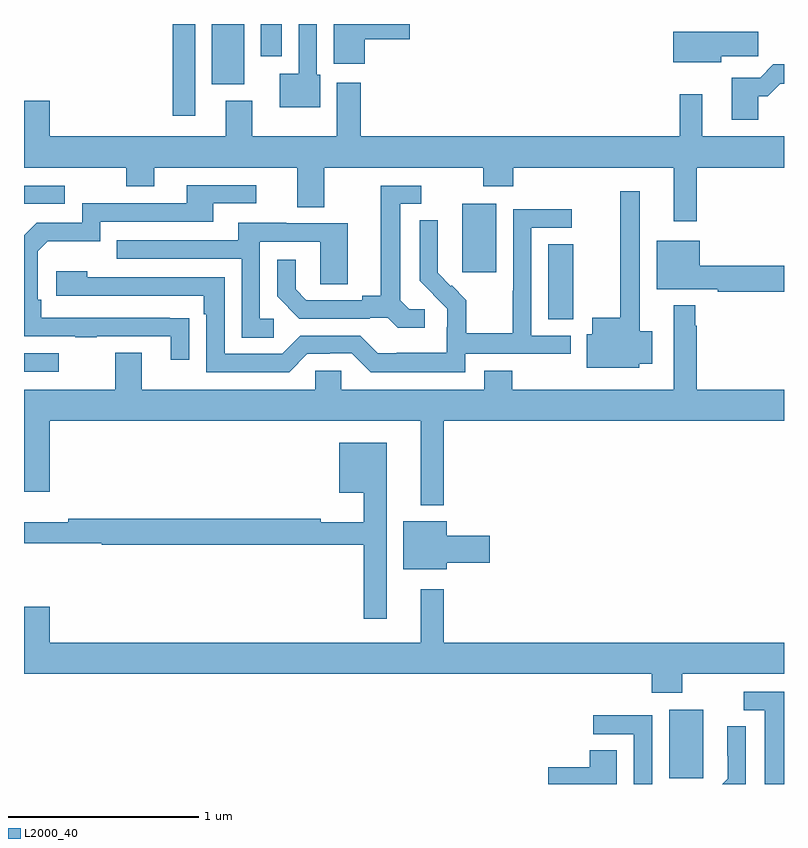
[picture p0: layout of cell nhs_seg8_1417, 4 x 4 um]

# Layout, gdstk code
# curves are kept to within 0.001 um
import gdstk
lib = gdstk.Library(unit=1e-6, precision=1e-09)
def R(c, l, rs):  # rectangles x0, y0, x1, y1
    for r in rs: c.add(gdstk.rectangle(r[:2], r[2:], *l))
def P(c, l, *ps):  # polygons
    for p in ps: c.add(gdstk.Polygon(p, *l))
L2000_40 = (2000, 40)

nhs_seg8_1417 = lib.new_cell('nhs_seg8_1417')
R(nhs_seg8_1417, L2000_40, [(204.395,1135.929,204.574,1136.29), (201,1138.071,201.184,1138.167), (203.759,1138.345,203.89,1138.742), (203.306,1138.593,203.485,1138.954), (201,1138.953,201.214,1139.049), (201.784,1139.418,201.9,1139.9), (201.989,1139.582,202.159,1139.9), (202.247,1139.73,202.357,1139.9)])
P(nhs_seg8_1417, L2000_40, [(202.558,1139.634),(202.542,1139.634),(202.542,1139.9),(202.446,1139.9),(202.446,1139.638),(202.346,1139.638),(202.346,1139.462),(202.558,1139.462)],
  [(202.793,1139.819),(203.029,1139.819),(203.029,1139.9),(202.631,1139.9),(202.631,1139.691),(202.793,1139.691)],
  [(204.67,1139.731),(204.865,1139.731),(204.865,1139.86),(204.416,1139.86),(204.416,1139.699),(204.67,1139.699)],
  [(204.865,1139.519),(204.914,1139.519),(204.981,1139.586),(205,1139.586),(205,1139.687),(204.944,1139.687),(204.874,1139.617),(204.725,1139.617),(204.725,1139.397),(204.865,1139.397)],
  [(204.541,1139.144),(205,1139.144),(205,1139.308),(204.571,1139.308),(204.571,1139.53),(204.45,1139.53),(204.45,1139.308),(202.772,1139.308),(202.772,1139.59),(202.646,1139.59),(202.646,1139.308),(202.201,1139.308),(202.201,1139.497),(202.061,1139.497),(202.061,1139.308),(201.136,1139.308),(201.136,1139.497),(201,1139.497),(201,1139.144),(201.538,1139.144),(201.538,1139.045),(201.685,1139.045),(201.685,1139.144),(202.439,1139.144),(202.439,1138.936),(202.579,1138.936),(202.579,1139.144),(203.416,1139.144),(203.416,1139.045),(203.576,1139.045),(203.576,1139.144),(204.419,1139.144),(204.419,1138.863),(204.541,1138.863)],
  [(201.869,1138.352),(201.092,1138.353),(201.092,1138.45),(201.072,1138.45),(201.072,1138.704),(201.125,1138.757),(201.402,1138.757),(201.402,1138.86),(201.997,1138.86),(201.997,1138.956),(202.222,1138.956),(202.222,1139.052),(201.857,1139.052),(201.857,1138.956),(201.306,1138.956),(201.306,1138.854),(201.066,1138.854),(201,1138.788),(201,1138.257),(201.271,1138.257),(201.271,1138.252),(201.383,1138.252),(201.383,1138.257),(201.773,1138.257),(201.773,1138.134),(201.869,1138.134)],
  [(203.11,1138.398),(203.028,1138.398),(202.981,1138.445),(202.981,1138.953),(203.092,1138.953),(203.092,1139.049),(202.877,1139.049),(202.877,1138.469),(202.781,1138.469),(202.781,1138.446),(202.486,1138.446),(202.429,1138.503),(202.429,1138.66),(202.332,1138.66),(202.332,1138.466),(202.448,1138.35),(202.82,1138.35),(202.82,1138.353),(202.914,1138.353),(202.966,1138.301),(203.11,1138.301)],
  [(204.237,1138.112),(204.307,1138.112),(204.307,1138.283),(204.241,1138.283),(204.241,1139.02),(204.137,1139.02),(204.137,1138.354),(203.99,1138.354),(203.99,1138.266),(203.963,1138.266),(203.963,1138.091),(204.237,1138.091)],
  [(203.322,1138.164),(203.878,1138.164),(203.878,1138.26),(203.67,1138.26),(203.67,1138.827),(203.884,1138.827),(203.884,1138.926),(203.574,1138.926),(203.574,1138.496),(203.572,1138.496),(203.572,1138.273),(203.327,1138.273),(203.327,1138.447),(203.25,1138.524),(203.247,1138.521),(203.177,1138.592),(203.178,1138.868),(203.082,1138.868),(203.082,1138.55),(203.228,1138.402),(203.228,1138.305),(203.226,1138.305),(203.226,1138.171),(202.963,1138.171),(202.963,1138.167),(202.863,1138.167),(202.77,1138.26),(202.455,1138.26),(202.359,1138.164),(202.056,1138.164),(202.056,1138.566),(201.332,1138.566),(201.332,1138.6),(201.171,1138.6),(201.171,1138.47),(201.947,1138.47),(201.947,1138.373),(201.96,1138.373),(201.96,1138.068),(202.395,1138.068),(202.491,1138.164),(202.61,1138.164),(202.61,1138.167),(202.725,1138.167),(202.825,1138.067),(203.322,1138.067)],
  [(202.315,1138.35),(202.242,1138.35),(202.242,1138.755),(202.56,1138.755),(202.56,1138.531),(202.705,1138.531),(202.705,1138.851),(202.381,1138.851),(202.381,1138.855),(202.127,1138.855),(202.127,1138.761),(201.487,1138.761),(201.487,1138.665),(202.146,1138.665),(202.146,1138.249),(202.315,1138.249)],
  [(205,1138.628),(204.556,1138.628),(204.556,1138.759),(204.329,1138.759),(204.329,1138.505),(204.652,1138.505),(204.652,1138.492),(205,1138.492)],
  [(203.209,1137.812),(205,1137.812),(205,1137.976),(204.541,1137.976),(204.541,1138.313),(204.534,1138.313),(204.534,1138.42),(204.419,1138.42),(204.419,1137.976),(203.571,1137.976),(203.571,1138.075),(203.423,1138.075),(203.423,1137.976),(202.671,1137.976),(202.671,1138.074),(202.533,1138.074),(202.533,1137.976),(201.619,1137.976),(201.619,1138.171),(201.479,1138.171),(201.479,1137.976),(201,1137.976),(201,1137.438),(201.136,1137.438),(201.136,1137.812),(203.087,1137.812),(203.087,1137.368),(203.209,1137.368)],
  [(202.909,1137.697),(202.658,1137.697),(202.658,1137.434),(202.788,1137.434),(202.788,1137.277),(202.562,1137.277),(202.562,1137.296),(201.232,1137.296),(201.232,1137.277),(201,1137.277),(201,1137.168),(201.409,1137.168),(201.409,1137.16),(202.788,1137.16),(202.788,1136.769),(202.909,1136.769)],
  [(203.224,1137.064),(203.452,1137.064),(203.452,1137.206),(203.224,1137.206),(203.224,1137.283),(202.997,1137.283),(202.997,1137.029),(203.224,1137.029)],
  [(204.465,1136.48),(205,1136.48),(205,1136.644),(203.209,1136.644),(203.209,1136.926),(203.087,1136.926),(203.087,1136.644),(201.136,1136.644),(201.136,1136.833),(201,1136.833),(201,1136.48),(204.305,1136.48),(204.305,1136.381),(204.465,1136.381)],
  [(205,1136.385),(204.789,1136.385),(204.789,1136.289),(204.899,1136.289),(204.899,1135.9),(205,1135.9)],
  [(204.306,1136.262),(203.997,1136.262),(203.997,1136.163),(204.21,1136.163),(204.21,1135.9),(204.306,1135.9)],
  [(204.798,1136.204),(204.702,1136.204),(204.702,1136.05),(204.704,1136.05),(204.704,1135.928),(204.676,1135.9),(204.798,1135.9)],
  [(204.121,1136.078),(203.978,1136.078),(203.978,1135.988),(203.76,1135.988),(203.76,1135.9),(204.121,1135.9)])

lib.write_gds('nhs_seg8_1417.gds')
